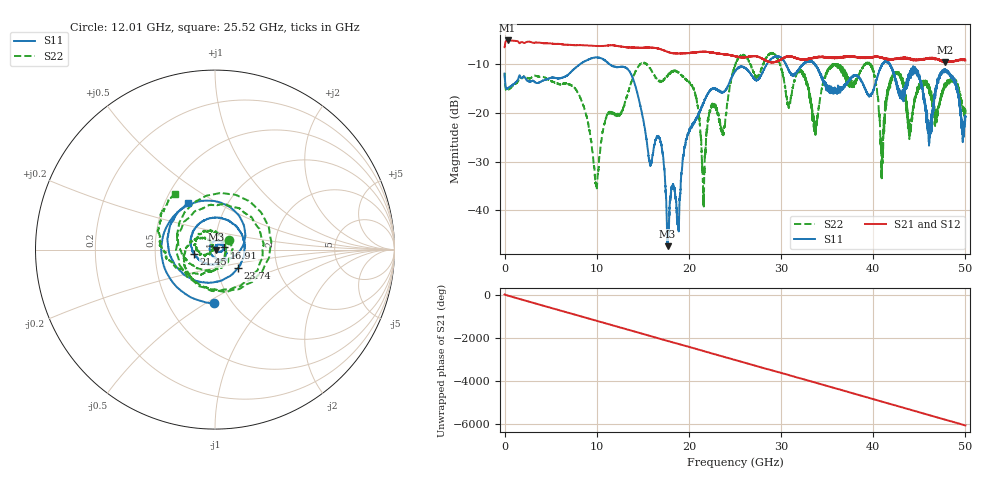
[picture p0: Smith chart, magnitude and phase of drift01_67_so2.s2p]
!Created with skrf (http://scikit-rf.org).
# Hz S RI R 50.0
!freq ReS11 ImS11 ReS21 ImS21 ReS12 ImS12 ReS22 ImS22
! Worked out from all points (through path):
!   10001 points, 300 kHz to 50 GHz, reference 50 ohm
!   highest |S21| = -5.05 dB at 325.3 MHz (marker M1); lowest = -9.6 dB at 47.83 GHz (marker M2)
!   group delay of S21, straight-line fit = 336 ps
!   lowest |S11| = -47.4 dB at 17.69 GHz (marker M3), VSWR 1.01, Z = 50.4 - j0.0637 ohm
!   |S11| at or under -10 dB: start of sweep to 8.15 GHz; 11.43 GHz to 28.42 GHz (16.99 GHz wide, 85.3 % of centre); 41.81 GHz to end of sweep (the widest 3 of 12)
!   |S22| runs from -39.2 to -7.6 dB; largest |S21 - S12| = 0.013
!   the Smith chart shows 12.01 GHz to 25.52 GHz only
!   S11 on the Smith chart (normalised r, x): 12.01 GHz: 0.83, -0.54; 16.91 GHz: 1.10, +0.03; 21.45 GHz: 0.79, -0.04; 23.74 GHz: 1.26, -0.27; 25.52 GHz: 0.66, +0.37
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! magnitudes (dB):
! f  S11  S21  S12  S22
! 300 kHz  -11.9  -6.4  -6.5  -11.8
! 325.3 MHz  -15.0  -5.0  -5.1  -15.3
! 8.335 GHz  -9.7  -6.0  -6.0  -17.5
! 9.945 GHz  -8.5  -6.2  -6.2  -34.8
! 12.01 GHz  -10.5  -6.1  -6.1  -20.4
! 16.67 GHz  -24.8  -6.7  -6.7  -13.4
! 16.91 GHz  -25.9  -6.8  -6.8  -13.4
! 17.69 GHz  -47.4  -7.4  -7.4  -12.3
! 20.47 GHz  -22.3  -7.6  -7.5  -15.0
! 21.45 GHz  -18.6  -7.4  -7.4  -31.1
! 22.47 GHz  -15.1  -7.5  -7.5  -19.1
! 23.74 GHz  -15.7  -7.9  -7.9  -24.4
! 25 GHz  -11.4  -8.3  -8.3  -10.2
! 25.52 GHz  -10.5  -8.5  -8.5  -8.4
! 33.34 GHz  -9.5  -8.7  -8.7  -19.1
! 39.5 GHz  -16.3  -8.6  -8.6  -9.8
! 40.97 GHz  -10.1  -8.6  -8.6  -29.4
! 41.67 GHz  -9.6  -8.8  -8.9  -14.7
! 44.72 GHz  -11.5  -9.1  -9.1  -15.9
! 46.11 GHz  -23.7  -8.8  -8.8  -15.2
! 47.83 GHz  -11.1  -9.6  -9.5  -13.8
! 50 GHz  -20.8  -9.1  -9.1  -20.3
